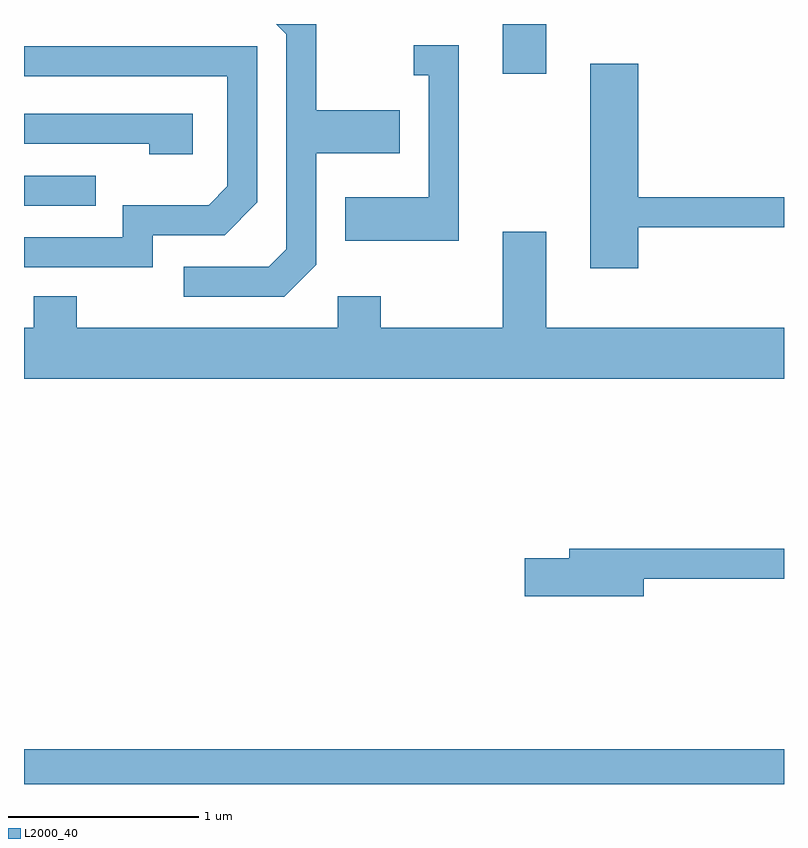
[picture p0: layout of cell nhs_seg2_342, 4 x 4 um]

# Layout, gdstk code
import gdstk
lib = gdstk.Library(unit=1e-6, precision=1e-09)
def R(c, l, rs):  # rectangles x0, y0, x1, y1
    for r in rs: c.add(gdstk.rectangle(r[:2], r[2:], *l))
def P(c, l, *ps):  # polygons
    for p in ps: c.add(gdstk.Polygon(p, *l))
L2000_40 = (2000, 40)

nhs_seg2_342 = lib.new_cell('nhs_seg2_342')
R(nhs_seg2_342, L2000_40, [(195.611,981.802,199.611,981.984), (195.611,984.846,195.988,985.004), (198.131,985.541,198.359,985.802)])
P(nhs_seg2_342, L2000_40, [(197.149,984.534),(197.149,985.121),(197.589,985.121),(197.589,985.349),(197.149,985.349),(197.149,985.802),(196.938,985.802),(196.991,985.749),(196.991,984.617),(196.899,984.524),(196.453,984.524),(196.453,984.366),(196.982,984.366)],
  [(197.899,985.689),(197.663,985.689),(197.663,985.531),(197.741,985.531),(197.741,984.889),(197.301,984.889),(197.301,984.661),(197.899,984.661)],
  [(196.289,984.691),(196.667,984.691),(196.839,984.864),(196.839,985.684),(195.611,985.684),(195.611,985.526),(196.681,985.526),(196.681,984.947),(196.584,984.849),(196.131,984.849),(196.131,984.679),(195.611,984.679),(195.611,984.521),(196.289,984.521)],
  [(198.844,984.731),(199.611,984.731),(199.611,984.889),(198.844,984.889),(198.844,985.594),(198.591,985.594),(198.591,984.516),(198.844,984.516)],
  [(196.499,985.329),(195.611,985.329),(195.611,985.171),(196.271,985.171),(196.271,985.116),(196.499,985.116)],
  [(199.611,984.204),(198.359,984.204),(198.359,984.709),(198.131,984.709),(198.131,984.204),(197.489,984.204),(197.489,984.369),(197.261,984.369),(197.261,984.204),(195.889,984.204),(195.889,984.369),(195.661,984.369),(195.661,984.204),(195.611,984.204),(195.611,983.936),(199.611,983.936)],
  [(198.874,982.881),(199.611,982.881),(199.611,983.039),(198.481,983.039),(198.481,982.989),(198.246,982.989),(198.246,982.791),(198.874,982.791)])

lib.write_gds('nhs_seg2_342.gds')
